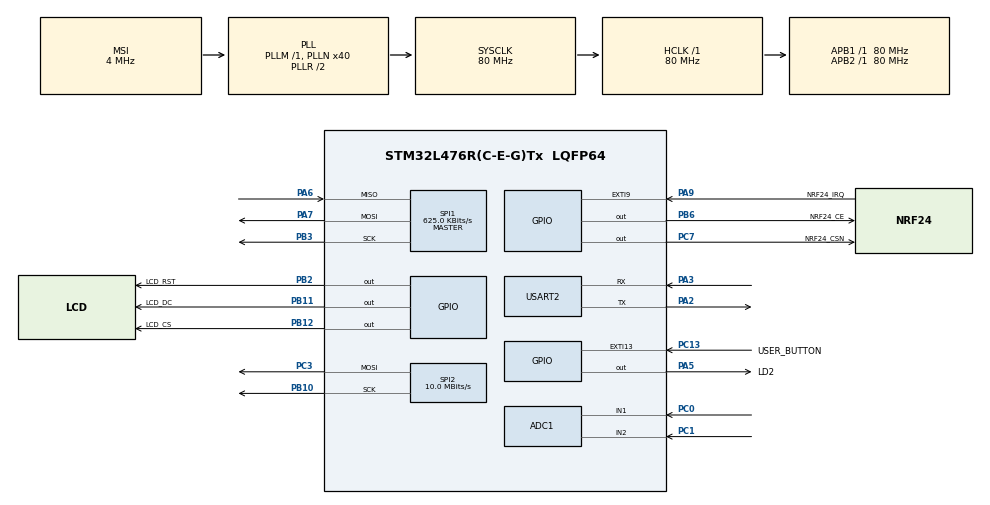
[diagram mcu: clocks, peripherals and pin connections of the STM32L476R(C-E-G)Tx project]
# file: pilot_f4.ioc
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ADC1.Channel-1\#ChannelRegularConversion=ADC_CHANNEL_1
ADC1.Channel-2\#ChannelRegularConversion=ADC_CHANNEL_2
ADC1.ContinuousConvMode=ENABLE
ADC1.DMAContinuousRequests=ENABLE
ADC1.NbrOfConversion=2
ADC1.NbrOfConversionFlag=1
ADC1.OffsetNumber-1\#ChannelRegularConversion=ADC_OFFSET_NONE
ADC1.OffsetNumber-2\#ChannelRegularConversion=ADC_OFFSET_NONE
ADC1.Overrun=ADC_OVR_DATA_OVERWRITTEN
ADC1.OversamplingMode=ENABLE
ADC1.Rank-1\#ChannelRegularConversion=1
ADC1.Rank-2\#ChannelRegularConversion=2
ADC1.Ratio=ADC_OVERSAMPLING_RATIO_16
ADC1.RightBitShift=ADC_RIGHTBITSHIFT_4
ADC1.SamplingTime-1\#ChannelRegularConversion=ADC_SAMPLETIME_640CYCLES_5
ADC1.SamplingTime-2\#ChannelRegularConversion=ADC_SAMPLETIME_640CYCLES_5
ADC1.master=1
Dma.ADC1.0.Direction=DMA_PERIPH_TO_MEMORY
Dma.ADC1.0.Instance=DMA1_Channel1
Dma.ADC1.0.MemDataAlignment=DMA_MDATAALIGN_HALFWORD
Dma.ADC1.0.MemInc=DMA_MINC_ENABLE
Dma.ADC1.0.Mode=DMA_CIRCULAR
Dma.ADC1.0.PeriphDataAlignment=DMA_PDATAALIGN_HALFWORD
Dma.ADC1.0.PeriphInc=DMA_PINC_DISABLE
Dma.ADC1.0.Priority=DMA_PRIORITY_LOW
Dma.Request0=ADC1
Dma.Request1=SPI2_TX
Dma.SPI2_TX.1.Direction=DMA_MEMORY_TO_PERIPH
Dma.SPI2_TX.1.Instance=DMA1_Channel5
Dma.SPI2_TX.1.MemDataAlignment=DMA_MDATAALIGN_BYTE
Dma.SPI2_TX.1.MemInc=DMA_MINC_ENABLE
Dma.SPI2_TX.1.Mode=DMA_NORMAL
Dma.SPI2_TX.1.PeriphDataAlignment=DMA_PDATAALIGN_BYTE
Dma.SPI2_TX.1.PeriphInc=DMA_PINC_DISABLE
Dma.SPI2_TX.1.Priority=DMA_PRIORITY_LOW
Mcu.Family=STM32L4
Mcu.Name=STM32L476R(C-E-G)Tx
Mcu.Package=LQFP64
NVIC.DMA1_Channel5_IRQn=true\:0\:0\:false\:false\:true\:true\:true\:true
NVIC.EXTI15_10_IRQn=true\:0\:0\:false\:false\:true\:true\:true\:true
NVIC.EXTI9_5_IRQn=true\:2\:0\:true\:false\:true\:true\:true\:true
NVIC.PriorityGroup=NVIC_PRIORITYGROUP_4
NVIC.TIM3_IRQn=true\:10\:0\:true\:false\:true\:true\:true\:true
NVIC.USART2_IRQn=true\:0\:0\:true\:false\:true\:true\:true\:true
PA13\ (JTMS-SWDIO).Mode=Serial_Wire
PA13\ (JTMS-SWDIO).Signal=SYS_JTMS-SWDIO
PA14\ (JTCK-SWCLK).Mode=Serial_Wire
PA14\ (JTCK-SWCLK).Signal=SYS_JTCK-SWCLK
PA2.Mode=Asynchronous
PA2.Signal=USART2_TX
PA3.Mode=Asynchronous
PA3.Signal=USART2_RX
PA5.GPIO_Label=LD2
PA5.Signal=GPIO_Output
PA6.Mode=Full_Duplex_Master
PA6.Signal=SPI1_MISO
PA7.Mode=Full_Duplex_Master
PA7.Signal=SPI1_MOSI
PA9.GPIO_Label=NRF24_IRQ
PA9.GPIO_ModeDefaultEXTI=GPIO_MODE_IT_FALLING
PA9.Signal=GPXTI9
PB10.Mode=TX_Only_Simplex_Unidirect_Master
PB10.Signal=SPI2_SCK
PB11.GPIO_Label=LCD_DC
PB11.Signal=GPIO_Output
PB12.GPIO_Label=LCD_CS
PB12.PinState=GPIO_PIN_SET
PB12.Signal=GPIO_Output
PB2.GPIO_Label=LCD_RST
PB2.Signal=GPIO_Output
PB3\ (JTDO-TRACESWO).Mode=Full_Duplex_Master
PB3\ (JTDO-TRACESWO).Signal=SPI1_SCK
PB6.GPIO_Label=NRF24_CE
PB6.Signal=GPIO_Output
PC0.Signal=ADCx_IN1
PC1.Signal=ADCx_IN2
PC13.GPIO_Label=USER_BUTTON
PC13.Signal=GPXTI13
PC3.Mode=TX_Only_Simplex_Unidirect_Master
PC3.Signal=SPI2_MOSI
PC7.GPIO_Label=NRF24_CSN
PC7.Signal=GPIO_Output
ProjectManager.HeapSize=0x200
ProjectManager.StackSize=0x2000
ProjectManager.TargetToolchain=STM32CubeIDE
RCC.ADCFreq_Value=32000000
RCC.AHBFreq_Value=80000000
RCC.APB1Freq_Value=80000000
RCC.APB1TimFreq_Value=80000000
RCC.APB2Freq_Value=80000000
RCC.APB2TimFreq_Value=80000000
RCC.CortexFreq_Value=80000000
RCC.HCLKFreq_Value=80000000
RCC.HSE_VALUE=8000000
RCC.HSI_VALUE=16000000
RCC.LSE_VALUE=32768
RCC.MSI_VALUE=4000000
RCC.PLLN=40
RCC.PLLSAI1N=16
RCC.SYSCLKFreq_VALUE=80000000
RCC.SYSCLKSource=RCC_SYSCLKSOURCE_PLLCLK
RCC.USBFreq_Value=32000000
RCC.VCOOutputFreq_Value=160000000
SH.ADCx_IN1.0=ADC1_IN1,IN1-Single-Ended
SH.ADCx_IN2.0=ADC1_IN2,IN2-Single-Ended
SPI1.BaudRatePrescaler=SPI_BAUDRATEPRESCALER_128
SPI1.CalculateBaudRate=625.0 KBits/s
SPI1.DataSize=SPI_DATASIZE_8BIT
SPI1.Direction=SPI_DIRECTION_2LINES
SPI1.Mode=SPI_MODE_MASTER
SPI1.VirtualType=VM_MASTER
SPI2.BaudRatePrescaler=SPI_BAUDRATEPRESCALER_8
SPI2.CalculateBaudRate=10.0 MBits/s
SPI2.DataSize=SPI_DATASIZE_8BIT
SPI2.Direction=SPI_DIRECTION_2LINES
SPI2.Mode=SPI_MODE_MASTER
SPI2.NSSPMode=SPI_NSS_PULSE_DISABLE
SPI2.VirtualType=VM_MASTER
TIM3.Period=1499
TIM3.Prescaler=7999
USART2.VirtualMode-Asynchronous=VM_ASYNC
VP_TIM3_VS_ClockSourceINT.Mode=Internal
board=custom

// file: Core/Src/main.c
/* USER CODE BEGIN Header */
/**
  ******************************************************************************
  * @file           : main.c
  * @brief          Main program body
  ******************************************************************************
  * Autorzy:
  * Jan Kaniuka
  * Przemysław Krasnodębski
  *
  * Projekt: Pilot RC.
  *
  * Główne funckjonalności:
  * Generowanie poleceń ruchu zgodnie z ruchem joysticka,
  * Przesył poleceń ruchu drogą radiową do odbiornika,
  * Odbiór parametrów ruchu z platformy mobilnej,
  * Wyświetlanie informacji diagnostycznych oraz parametrów ruchu na ekranie,
  * Powiadomienie użytkownika o wejściu w kolizję z otoczeniem.
  ******************************************************************************
  */
/* USER CODE END Header */
#include "main.h"
#include "adc.h"
#include "dma.h"
#include "spi.h"
#include "tim.h"
#include "usart.h"
#include "gpio.h"

/* USER CODE BEGIN Includes */
#include "stdio.h"
#include "nRF24/nRF24_Defs.h"
#include "nRF24/nRF24.h"
#include "ring_buffer.h"
#include "uart_usb_com.h"
#include "transmitter.h"
#include "font6x9.h"
#include "gui.h"
#include "stdlib.h"

/* USER CODE END Includes */

/* USER CODE BEGIN PD */
#define MESSAGE_BUFF_LEN 200 ///< message buffer length
#define USE_RADIO ///< flag if radio should be turned on
#undef SHOW_DUTY_CYCLE
#define USE_LCD ///< flag if you want to use TFT LCD 160x128px display
/* USER CODE END PD */

/* USER CODE BEGIN PV */
volatile uint8_t nrf24_rx_flag, nrf24_tx_flag, nrf24_mr_flag; ///< transmission flags for transreceiver
uint8_t Nrf24_Message[MESSAGE_BUFF_LEN];
uint8_t Message[MESSAGE_BUFF_LEN];
uint8_t MessageLength;

uint8_t tMessage[MESSAGE_BUFF_LEN]; ///< buffer with message to send
uint8_t tMessageLength; ///< TX buffer length

uint8_t Message_RX[MESSAGE_BUFF_LEN];  ///< buffer for message to receive
uint8_t MessageLength_RX; ///<RX buffer length

volatile static uint16_t joystick[2]; ///< raw ADC value from joystick potentiometers
volatile bool print_alarm = 0; ///< if equals 1, display ALARM message on the screen
volatile int distance; ///< distance value from HC-SR04 in cm unit
volatile int acs711ex_voltage = 2048; ///< raw ADC voltage from analog current sensor
volatile bool send_msg = 0; ///< if equals 1, messages will be send
/* USER CODE END PV */

void SystemClock_Config(void);

/* USER CODE BEGIN 0 */

/**
 * Parse incomming message from robot
*/
void MessegeHandle(uint8_t Message[]){
    switch(Message[0]){
    case('d'):
        {
    	if(Message[1] == 'd')
    	{
    		break;
    	}
        char received_dist[] = {Message[1], Message[2], Message[3]};
        distance = atoi(received_dist);
        char received_current[] = {Message[7], Message[8], Message[9], Message[10]};
        acs711ex_voltage = atoi(received_current);
        break;
        }

    default:
        break;
    }
}

/**
 * Print message which is beeing send at the moment
*/
void nRF24_EventTxCallback(void)
{
      MessageLength = sprintf((char*)Message, "TX\n\r");
      HAL_UART_Transmit_IT(&huart2, Message, MessageLength);
}

void nRF24_EventMrCallback(void)
{
      MessageLength = sprintf((char*)Message, "MX\n\r");
      HAL_UART_Transmit_IT(&huart2, Message, MessageLength);
}

/**
 * Print received message on serial port terminal emulator
*/
void nRF24_EventRxCallback(void){

    nRF24_ReadData(Message_RX, &MessageLength_RX);
    if(MessageLength_RX > 0){

    HAL_UART_Transmit_IT(&huart2, Message_RX, MessageLength_RX);
    MessegeHandle(Message_RX);
    }
      nRF24_FlushRX();

}

/**
 * Check if SPI transmission to TFT LCD display is finished.
*/
void HAL_SPI_TxCpltCallback(SPI_HandleTypeDef *hspi)
{
	if (hspi == &hspi2)
	{
		lcd_transfer_done();
	}
}

/**
 * Send controls in regular time intervals.
*/
void HAL_TIM_PeriodElapsedCallback(TIM_HandleTypeDef *htim)
{
  if (htim == &htim3) {
	  send_msg = !send_msg;
  }
}

/* USER CODE END 0 */

int main(void)
{

  /* MCU Configuration--------------------------------------------------------*/

  /* Reset of all peripherals, Initializes the Flash interface and the Systick. */
  HAL_Init();

  /* Configure the system clock */
  SystemClock_Config();

  /* Initialize all configured peripherals */
  MX_GPIO_Init();
  MX_SPI1_Init();
  MX_DMA_Init();
  MX_ADC1_Init();
  MX_USART2_UART_Init();
  MX_SPI2_Init();
  MX_TIM3_Init();
  /* USER CODE BEGIN 2 */
  nRF24_Init(&hspi1);
  nRF24_SetRXAddress(0, (uint8_t*)"Nad");
  nRF24_SetTXAddress((uint8_t*)"Odb");
  nRF24_RX_Mode();
  /* USER CODE END 2 */

  /* Infinite loop */
  /* USER CODE BEGIN WHILE */

  HAL_ADCEx_Calibration_Start(&hadc1, ADC_SINGLE_ENDED);
  HAL_ADC_Start_DMA(&hadc1, (uint32_t*)joystick, 2);
  HAL_TIM_Base_Start_IT(&htim3);
  lcd_init();

  while (1)
  {

#ifdef SHOW_DUTY_CYCLE
	  printf("VRx=%u, VRy=%u\n", joystick[0], joystick[1]);
	  PWM_duty_cycle result;
	  result = calc_PWM(joystick[0], joystick[1]);
	  printf("PWM : lewe=%f, prawe=%f\n", result.vel_L, result.vel_R);
#endif

	  if (send_msg == 1){
		  HAL_GPIO_TogglePin(LD2_GPIO_Port, LD2_Pin);
		  PWM_duty_cycle result;
		  result = calc_PWM(joystick[0], joystick[1]);
		  Wheels_directions directions;
		  directions = calc_dirs( (int)result.vel_L, (int)result.vel_R );
		  result = truncate_digits_to_send(result.vel_L, result.vel_R);

		  MessageLength = sprintf((char*)Message, "s%d%02d%d%02d\n\r", directions.dirL, abs((int)result.vel_L), directions.dirR, abs((int)result.vel_R) );
		  nRF24_SendData(Message, MessageLength);
	  }

#ifdef USE_RADIO
#if (NRF24_USE_INTERRUPT == 1)
	  nRF24_Event();
#endif
#endif

#ifdef USE_LCD
	  	 display_params(joystick[0], joystick[1], distance, calc_current(acs711ex_voltage));
	  	 if(print_alarm == 1){
		 signal_lost();
	  	 }
 		 render_screen();
#endif

    /* USER CODE END WHILE */

  }
}

void SystemClock_Config(void)
{
  RCC_OscInitTypeDef RCC_OscInitStruct = {0};
  RCC_ClkInitTypeDef RCC_ClkInitStruct = {0};

  /** Configure the main internal regulator output voltage
  */
  if (HAL_PWREx_ControlVoltageScaling(PWR_REGULATOR_VOLTAGE_SCALE1) != HAL_OK)
  {
    Error_Handler();
  }

  /** Initializes the RCC Oscillators according to the specified parameters
  * in the RCC_OscInitTypeDef structure.
  */
  RCC_OscInitStruct.OscillatorType = RCC_OSCILLATORTYPE_MSI;
  RCC_OscInitStruct.MSIState = RCC_MSI_ON;
  RCC_OscInitStruct.MSICalibrationValue = 0;
  RCC_OscInitStruct.MSIClockRange = RCC_MSIRANGE_6;
  RCC_OscInitStruct.PLL.PLLState = RCC_PLL_ON;
  RCC_OscInitStruct.PLL.PLLSource = RCC_PLLSOURCE_MSI;
  RCC_OscInitStruct.PLL.PLLM = 1;
  RCC_OscInitStruct.PLL.PLLN = 40;
  RCC_OscInitStruct.PLL.PLLP = RCC_PLLP_DIV7;
  RCC_OscInitStruct.PLL.PLLQ = RCC_PLLQ_DIV2;
  RCC_OscInitStruct.PLL.PLLR = RCC_PLLR_DIV2;
  if (HAL_RCC_OscConfig(&RCC_OscInitStruct) != HAL_OK)
  {
    Error_Handler();
  }

  /** Initializes the CPU, AHB and APB buses clocks
  */
  RCC_ClkInitStruct.ClockType = RCC_CLOCKTYPE_HCLK|RCC_CLOCKTYPE_SYSCLK
                              |RCC_CLOCKTYPE_PCLK1|RCC_CLOCKTYPE_PCLK2;
  RCC_ClkInitStruct.SYSCLKSource = RCC_SYSCLKSOURCE_PLLCLK;
  RCC_ClkInitStruct.AHBCLKDivider = RCC_SYSCLK_DIV1;
  RCC_ClkInitStruct.APB1CLKDivider = RCC_HCLK_DIV1;
  RCC_ClkInitStruct.APB2CLKDivider = RCC_HCLK_DIV1;

  if (HAL_RCC_ClockConfig(&RCC_ClkInitStruct, FLASH_LATENCY_4) != HAL_OK)
  {
    Error_Handler();
  }
}

/* USER CODE BEGIN 4 */

/**
 * Handle interrupt from nRF24L01+ module and from user button on STM32 Nucleo board.
*/
void HAL_GPIO_EXTI_Callback(uint16_t GPIO_Pin)
{
	if(GPIO_Pin == NRF24_IRQ_Pin)
	{
#if (NRF24_USE_INTERRUPT == 1)

		nRF24_IRQ_Handler();
#endif
	}

	if (GPIO_Pin == USER_BUTTON_Pin) {
		print_alarm = !print_alarm;
	}
}
/* USER CODE END 4 */

void Error_Handler(void)
{
  __disable_irq();
  while (1)
  {
  }
}
